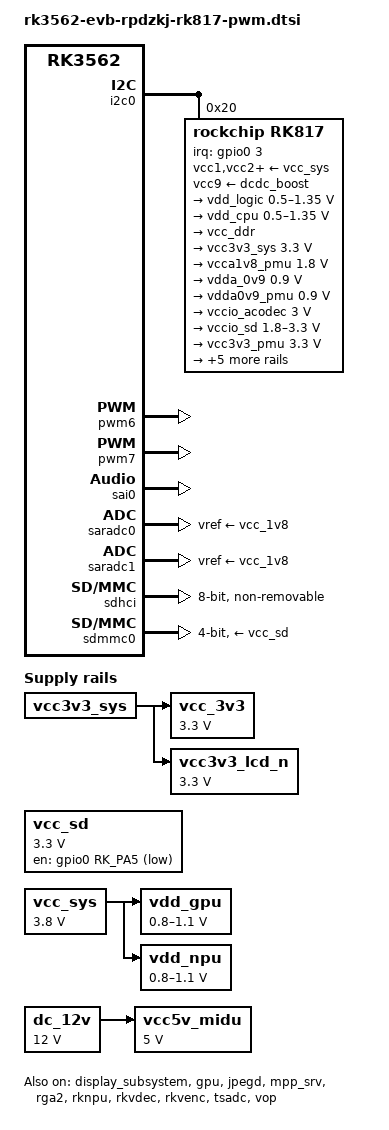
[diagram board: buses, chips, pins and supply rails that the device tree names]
// SPDX-License-Identifier: (GPL-2.0+ OR MIT)
/*
 * Copyright (c) 2022 Rockchip Electronics Co., Ltd.
 *
 */

/dts-v1/;

#include <dt-bindings/gpio/gpio.h>
#include <dt-bindings/pinctrl/rockchip.h>
#include <dt-bindings/input/rk-input.h>
#include <dt-bindings/sensor-dev.h>
#include <dt-bindings/display/drm_mipi_dsi.h>
#include "dt-bindings/usb/pd.h"
#include "../rk3562.dtsi"

/ {
	rpdzkj:rpdzkj_config {
		compatible = "rp_config";
		user_version = "rpdzkj";
		system_rotate = "0";
		csi_camera_rotate = "0"; //all csi camera rotation //0 90 180 270 //no effect
		csi_camera_facing = "0"; //0:auto  1:all front   2:all back //no effect
		usb_camera_rotate = "0"; //all usb camera rotation //0 90 180 270 
		usb_camera_facing = "0"; //0:auto  1:all front   2:all back
		lcd_density = "160";
		language = "zh-CN";   //zh-CN //en-US
		time_zone = "Asia/Shanghai"; //Asia/Shanghai = +8   //Europe/London  = +1       //Africa/Casablanca     = +0;
		not_navigation_bar = "false";
		not_status_bar = "false";
		default_launcher = "true";
		has_root = "true";
		usb_not_permission = "true";
		gps_use = "false";
		gps_serial_port = "/dev/ttyS4";
		primary_device = "DSI";
		extend_device = "HDMI-A";
		extend_rotate = "0";
		rotation_efull = "false";
		extend_rotate_2 = "0";//0 0//1 90 //2 180 //3 270
		rotation_efull_2 = "true";
		extend_rotate_3 = "0";//0 0//1 90 //2 180 //3 270
		rotation_efull_3 = "true";
		home_apk = "null";
		status = "okay";
  	};

	lvds_panel: panel@0 {
		status = "disabled";
	};	

	charge-animation {
		compatible = "rockchip,uboot-charge";
		rockchip,uboot-charge-on = <0>;
		rockchip,android-charge-on = <0>;
		rockchip,uboot-low-power-voltage = <3250>;
		rockchip,screen-on-voltage = <3300>;
		status = "okay";
	};

	rk817_sound: rk817-sound {
		status = "okay";
		compatible = "rockchip,multicodecs-card";
		rockchip,card-name = "rockchip-rk817";
	//	hp-det-gpio = <&gpio3 RK_PA0 GPIO_ACTIVE_LOW>;
		rockchip,format = "i2s";
		rockchip,mclk-fs = <256>;
		rockchip,cpu = <&sai0>;
		rockchip,codec = <&rk817_codec>;
	//	pinctrl-names = "default";
	//	pinctrl-0 = <&hp_det>;
	};
	rk_headset: rk-headset {
		compatible = "rockchip_headset";
	};
	
//	sdio_pwrseq: sdio-pwrseq {
//		compatible = "mmc-pwrseq-simple";
//		clocks = <&rk817 1>;
//		clock-names = "ext_clock";
//		pinctrl-names = "default";
//		pinctrl-0 = <&wifi_enable_h>;
//
//		/*
//		 * On the module itself this is one of these (depending
//		 * on the actual card populated):
//		 * - SDIO_RESET_L_WL_REG_ON
//		 * - PDN (power down when low)
//		 */
//		post-power-on-delay-ms = <200>;
//		reset-gpios = <&gpio0 RK_PB3 GPIO_ACTIVE_LOW>;
//	};
	
	vcc_sd: vcc-sd {
		compatible = "regulator-gpio";
		enable-active-low;
		regulator-boot-on;
		enable-gpio = <&gpio0 RK_PA5 GPIO_ACTIVE_LOW>;
		regulator-min-microvolt = <3300000>;
		regulator-max-microvolt = <3300000>;
		pinctrl-names = "default";
		pinctrl-0 = <&vcc_sd_h>;
		regulator-name = "vcc_sd";
		states = <0 0x0
			  3300000 0x1>;
	};

	vcc_sys: vcc-sys {
		compatible = "regulator-fixed";
		regulator-name = "vcc_sys";
		regulator-always-on;
		regulator-boot-on;
		regulator-min-microvolt = <3800000>;
		regulator-max-microvolt = <3800000>;
	};

	vdd_gpu: vdd-gpu {
		compatible = "pwm-regulator";
		pwms = <&pwm7 0 5000 1>;
		regulator-name = "vdd_gpu";
		regulator-min-microvolt = <800000>;
		regulator-max-microvolt = <1100000>;
		regulator-init-microvolt = <900000>;
		regulator-always-on;
		regulator-boot-on;
		regulator-settling-time-up-us = <250>;
		pwm-supply = <&vcc_sys>;
		status = "okay";
	};

	vdd_npu: vdd-npu {
		compatible = "pwm-regulator";
		pwms = <&pwm6 0 5000 1>;
		regulator-name = "vdd_npu";
		regulator-min-microvolt = <800000>;
		regulator-max-microvolt = <1100000>;
		regulator-init-microvolt = <900000>;
		regulator-always-on;
		regulator-boot-on;
		regulator-settling-time-up-us = <250>;
		pwm-supply = <&vcc_sys>;
		status = "okay";
	};
	
	dc_12v: dc-12v {
         	compatible = "regulator-fixed";
         	regulator-name = "dc_12v";
         	regulator-always-on;
         	regulator-boot-on;
         	regulator-min-microvolt = <12000000>;
         	regulator-max-microvolt = <12000000>;
     	};

	vcc5v_midu: vcc5v-midu {
                compatible = "regulator-fixed";
                regulator-name = "vcc5v_midu";
                regulator-always-on;
                regulator-boot-on;
                regulator-min-microvolt = <5000000>;
                regulator-max-microvolt = <5000000>;
                vin-supply = <&dc_12v>;
        };

	vcc_3v3: vcc-3v3 {
                compatible = "regulator-fixed";
                regulator-name = "vcc_3v3";
                regulator-always-on;
                regulator-boot-on;
                regulator-min-microvolt = <3300000>;
                regulator-max-microvolt = <3300000>;
                vin-supply = <&vcc3v3_sys>;
        };

	vcc3v3_lcd_n: vcc3v3-lcd-n {
         	compatible = "regulator-fixed";
         	regulator-name = "vcc3v3_lcd_n";
         	regulator-boot-on;
         	regulator-min-microvolt = <3300000>;
         	regulator-max-microvolt = <3300000>;
         	enable-active-high;
         	vin-supply = <&vcc3v3_sys>;
         	regulator-state-mem {
			regulator-off-in-suspend;
         	};
     	};	
	/*
	wireless-wlan {
		compatible = "wlan-platdata";
		rockchip,grf = <&sys_grf>;
		wifi_chip_type = "ap6255";
		pinctrl-names = "default";
		pinctrl-0 = <&wifi_host_wake_irq>;
		WIFI,host_wake_irq = <&gpio0 RK_PB4 GPIO_ACTIVE_HIGH>;
		WIFI,poweren_gpio = <&gpio0 RK_PB3 GPIO_ACTIVE_HIGH>;
		WIFI,vbat_gpio = <&gpio0 RK_PA0 GPIO_ACTIVE_HIGH>;
		status = "okay";
	};

	wireless-bluetooth {
		compatible = "bluetooth-platdata";
		clocks = <&rk817 1>;
		clock-names = "ext_clock";
		//wifi-bt-power-toggle;
		uart_rts_gpios = <&gpio1 RK_PD3 GPIO_ACTIVE_LOW>;
		pinctrl-names = "default", "rts_gpio";
		pinctrl-0 = <&uart1m0_rtsn>;
		pinctrl-1 = <&uart1_gpios>;
		BT,reset_gpio    = <&gpio0 RK_PC5 GPIO_ACTIVE_HIGH>;
		BT,wake_gpio     = <&gpio0 RK_PC7 GPIO_ACTIVE_HIGH>;
		BT,wake_host_irq = <&gpio0 RK_PC6 GPIO_ACTIVE_HIGH>;
		status = "okay";
	};
	*/
};

&cpu0 {
	cpu-supply = <&vdd_cpu>;
};

//&bus_soc {
//	rockchip,soc-bus-table = <0 0x00a000a8 0x7001>,
//				 <1 0x00a000a8 0x7c39>,
//				 <2 0x00a000a8 0x7c39>,
//				 <3 0x00a000a8 0x7c39>,
//				 <4 0x00a000a5 0xb007>,
//				 <5 0x00a000a8 0x7034>,
//				 <6 0x00a000a8 0x7034>,
//				 <7 0x00a000a8 0x7034>,
//				 <8 0x00a000a8 0x7001>;
//};

&display_subsystem {
	status = "okay";
};

&dsi {
 dsi_panel: panel@0 {
            status = "disabled";
        };
};

&gpu {
	mali-supply = <&vdd_gpu>;
	status = "okay";
};

&i2c0 {
	status = "okay";

	rk817: pmic@20 {
		compatible = "rockchip,rk817";
		reg = <0x20>;
		interrupt-parent = <&gpio0>;
		interrupts = <3 IRQ_TYPE_LEVEL_LOW>;

		pinctrl-names = "default", "pmic-sleep",
			"pmic-power-off", "pmic-reset";
		pinctrl-0 = <&pmic_int>;
		pinctrl-1 = <&soc_slppin_slp>, <&rk817_slppin_slp>;
		pinctrl-2 = <&soc_slppin_gpio>, <&rk817_slppin_pwrdn>;
		pinctrl-3 = <&soc_slppin_gpio>, <&rk817_slppin_rst>;
		rockchip,system-power-controller;
		wakeup-source;
		#clock-cells = <1>;
		clock-output-names = "rk808-clkout1", "rk808-clkout2";
		/* 1: rst regs (default in codes), 0: rst the pmic */
		pmic-reset-func = <0>;
		vcc1-supply = <&vcc_sys>;
		vcc2-supply = <&vcc_sys>;
		vcc3-supply = <&vcc_sys>;
		vcc4-supply = <&vcc_sys>;
		vcc5-supply = <&vcc_sys>;
		vcc6-supply = <&vcc_sys>;
		vcc7-supply = <&vcc_sys>;
		vcc8-supply = <&vcc_sys>;
		vcc9-supply = <&dcdc_boost>;
		pwrkey {
			status = "okay";
		};

		pinctrl_rk8xx: pinctrl_rk8xx {
			gpio-controller;
			#gpio-cells = <2>;

			rk817_slppin_null: rk817_slppin_null {
				pins = "gpio_slp";
				function = "pin_fun0";
			};

			rk817_slppin_slp: rk817_slppin_slp {
				pins = "gpio_slp";
				function = "pin_fun1";
			};

			rk817_slppin_pwrdn: rk817_slppin_pwrdn {
				pins = "gpio_slp";
				function = "pin_fun2";
			};

			rk817_slppin_rst: rk817_slppin_rst {
				pins = "gpio_slp";
				function = "pin_fun3";
			};
		};

		regulators {
			vdd_logic: DCDC_REG1 {
				regulator-always-on;
				regulator-boot-on;
				regulator-min-microvolt = <500000>;
				regulator-max-microvolt = <1350000>;
				regulator-init-microvolt = <900000>;
				regulator-ramp-delay = <6001>;
				regulator-initial-mode = <0x2>;
				regulator-name = "vdd_logic";
				regulator-state-mem {
					regulator-off-in-suspend;
					regulator-suspend-microvolt = <900000>;
				};
			};

			vdd_cpu: DCDC_REG2 {
				regulator-always-on;
				regulator-boot-on;
				regulator-min-microvolt = <500000>;
				regulator-max-microvolt = <1350000>;
				regulator-init-microvolt = <900000>;
				regulator-ramp-delay = <6001>;
				regulator-initial-mode = <0x2>;
				regulator-name = "vdd_cpu";
				regulator-state-mem {
					regulator-off-in-suspend;
				};
			};

			vcc_ddr: DCDC_REG3 {
				regulator-always-on;
				regulator-boot-on;
				regulator-initial-mode = <0x2>;
				regulator-name = "vcc_ddr";
				regulator-state-mem {
					regulator-on-in-suspend;
				};
			};

			vcc3v3_sys: DCDC_REG4 {
				regulator-always-on;
				regulator-boot-on;
				regulator-min-microvolt = <3300000>;
				regulator-max-microvolt = <3300000>;
				regulator-initial-mode = <0x2>;
				regulator-name = "vcc3v3_sys";
				regulator-state-mem {
					regulator-on-in-suspend;
					regulator-suspend-microvolt = <3300000>;
				};
			};

			vcca1v8_pmu: LDO_REG1 {
				regulator-always-on;
				regulator-boot-on;
				regulator-min-microvolt = <1800000>;
				regulator-max-microvolt = <1800000>;
				regulator-name = "vcca1v8_pmu";
				regulator-state-mem {
					regulator-on-in-suspend;
					regulator-suspend-microvolt = <1800000>;
				};
			};

			vdda_0v9: LDO_REG2 {
				regulator-always-on;
				regulator-boot-on;
				regulator-min-microvolt = <900000>;
				regulator-max-microvolt = <900000>;
				regulator-name = "vdda_0v9";
				regulator-state-mem {
					regulator-off-in-suspend;
				};
			};

			vdda0v9_pmu: LDO_REG3 {
				regulator-always-on;
				regulator-boot-on;
				regulator-min-microvolt = <900000>;
				regulator-max-microvolt = <900000>;
				regulator-name = "vdda0v9_pmu";
				regulator-state-mem {
					regulator-on-in-suspend;
					regulator-suspend-microvolt = <900000>;
				};
			};

			vccio_acodec: LDO_REG4 {
				regulator-always-on;
				regulator-boot-on;
				regulator-min-microvolt = <3000000>;
				regulator-max-microvolt = <3000000>;
				regulator-name = "vccio_acodec";
				regulator-state-mem {
					regulator-off-in-suspend;
				};
			};

			vccio_sd: LDO_REG5 {
				regulator-always-on;
				regulator-boot-on;
				regulator-min-microvolt = <1800000>;
				regulator-max-microvolt = <3300000>;
				regulator-name = "vccio_sd";
				regulator-state-mem {
					regulator-off-in-suspend;
				};
			};

			vcc3v3_pmu: LDO_REG6 {
				regulator-always-on;
				regulator-boot-on;
				regulator-min-microvolt = <3300000>;
				regulator-max-microvolt = <3300000>;
				regulator-name = "vcc3v3_pmu";
				regulator-state-mem {
					regulator-on-in-suspend;
					regulator-suspend-microvolt = <3000000>;
				};
			};

			vcc_1v8: LDO_REG7 {
				regulator-always-on;
				regulator-boot-on;
				regulator-min-microvolt = <1800000>;
				regulator-max-microvolt = <1800000>;
				regulator-name = "vcc_1v8";
				regulator-state-mem {
					regulator-off-in-suspend;
				};
			};

			vcc1v8_dvp: LDO_REG8 {
				regulator-always-on;
				regulator-boot-on;
				regulator-min-microvolt = <1800000>;
				regulator-max-microvolt = <1800000>;
				regulator-name = "vcc1v8_dvp";
				regulator-state-mem {
					regulator-off-in-suspend;
				};
			};

			vcc2v8_dvp: LDO_REG9 {
				regulator-always-on;
				regulator-boot-on;
				regulator-min-microvolt = <2800000>;
				regulator-max-microvolt = <2800000>;
				regulator-name = "vcc2v8_dvp";
				regulator-state-mem {
					regulator-off-in-suspend;
				};
			};

			dcdc_boost: BOOST {
				regulator-always-on;
				regulator-boot-on;
				regulator-min-microvolt = <4700000>;
				regulator-max-microvolt = <5400000>;
				regulator-name = "boost";
				regulator-state-mem {
					regulator-off-in-suspend;
				};
			};

			otg_switch: OTG_SWITCH {
				regulator-name = "otg_switch";
				regulator-state-mem {
					regulator-off-in-suspend;
				};
			};
		};
		
		/*
		battery {
			compatible = "rk817,battery";
			ocv_table = <3400 3671 3686 3712 3738 3756 3773
				     3787 3802 3819 3840 3868 3916 3959
				     3998 4041 4087 4138 4191 4247 4313>;
			design_capacity = <5780>;
			design_qmax = <6358>;
			bat_res = <100>;
			sleep_enter_current = <150>;
			sleep_exit_current = <180>;
			sleep_filter_current = <100>;
			power_off_thresd = <3400>;
			zero_algorithm_vol = <3950>;
			max_soc_offset = <60>;
			monitor_sec = <5>;
			sample_res = <10>;
			virtual_power = <0>;
		};

		charger {
			compatible = "rk817,charger";
			min_input_voltage = <4500>;
			max_input_current = <1500>;
			max_chrg_current = <2000>;
			max_chrg_voltage = <4350>;
			chrg_term_mode = <0>;
			chrg_finish_cur = <300>;
			virtual_power = <0>;
			dc_det_adc = <0>;
			extcon = <&u2phy>;
			gate_function_disable = <1>;
		};
		*/
		rk817_codec: codec {
			#sound-dai-cells = <0>;
			compatible = "rockchip,rk817-codec";
			clocks = <&mclkout_sai0>;
			clock-names = "mclk";
			assigned-clocks = <&mclkout_sai0>;
			assigned-clock-rates = <12288000>;
			pinctrl-names = "default";
			pinctrl-0 = <&i2s0m0_mclk>;
			hp-volume = <20>;
			spk-volume = <55>;
			status = "okay";
		};
	};
};

&jpegd {
	status = "okay";
};

&jpegd_mmu {
	status = "okay";
};

&mpp_srv {
	status = "okay";
};

&pinctrl {
	/*
	sdio-pwrseq {
		wifi_enable_h: wifi-enable-h {
			rockchip,pins = <0 RK_PB3 RK_FUNC_GPIO &pcfg_pull_none>;
		};
	};
	*/
	vcc_sd {
		vcc_sd_h: vcc-sd-h {
			rockchip,pins = <0 RK_PA5 RK_FUNC_GPIO &pcfg_pull_down>;
		};
	};
	/*
	wireless-wlan {
		wifi_host_wake_irq: wifi-host-wake-irq {
			rockchip,pins = <0 RK_PB4 RK_FUNC_GPIO &pcfg_pull_down>;
		};
	};

	wireless-bluetooth {
		uart1_gpios: uart1-gpios {
			rockchip,pins = <1 RK_PD3 RK_FUNC_GPIO &pcfg_pull_none>;
		};
	};
	*/
};

&pwm6 {
	status = "okay";
};

&pwm7 {
	status = "okay";
};

&rga2 {
	status = "okay";
};

&rga2_mmu {
	status = "okay";
};

&rknpu {
 	rknpu-supply = <&vdd_npu>;
 	status = "okay";
};

&rknpu_mmu {
	status = "okay";
};

&rkvdec {
	status = "okay";
};

&rkvdec_mmu {
	status = "okay";
};

&rkvenc {
	status = "okay";
};

&rkvenc_mmu {
	status = "okay";
};


&sai0 {
	status = "okay";
	pinctrl-names = "default";
	pinctrl-0 = <&i2s0m0_lrck
		     &i2s0m0_sclk
		     &i2s0m0_sdi0
		     &i2s0m0_sdo0>;
};

&saradc0 {
	status = "okay";
	vref-supply = <&vcc_1v8>;
};

&saradc1 {
        status = "okay";
        vref-supply = <&vcc_1v8>;
};

&sdhci {
	bus-width = <8>;
	no-sdio;
	no-sd;
	supports-emmc;
	non-removable;
	max-frequency = <200000000>;
	mmc-hs400-1_8v;
	mmc-hs400-enhanced-strobe;
	full-pwr-cycle-in-suspend;
	status = "okay";
};

&sdmmc0 {
	max-frequency = <200000000>;
	no-sdio;
	no-mmc;
	bus-width = <4>;
	cap-mmc-highspeed;
	cap-sd-highspeed;
	disable-wp;
	sd-uhs-sdr104;
	vmmc-supply = <&vcc_sd>;
	vqmmc-supply = <&vccio_sd>;
	pinctrl-names = "default";
	pinctrl-0 = <&sdmmc0_bus4 &sdmmc0_clk &sdmmc0_cmd &sdmmc0_det>;
	status = "okay";
};
/*
&sdmmc1 {
	max-frequency = <200000000>;
	no-sd;
	no-mmc;
	bus-width = <4>;
	disable-wp;
	cap-sd-highspeed;
	cap-sdio-irq;
	keep-power-in-suspend;
	mmc-pwrseq = <&sdio_pwrseq>;
	non-removable;
	pinctrl-names = "default";
	pinctrl-0 = <&sdmmc1_bus4 &sdmmc1_cmd &sdmmc1_clk>;
	sd-uhs-sdr104;
	status = "okay";
};
*/
&tsadc {
	status = "okay";
};

&vop {
	status = "okay";
};

&vop_mmu {
	status = "okay";
};
